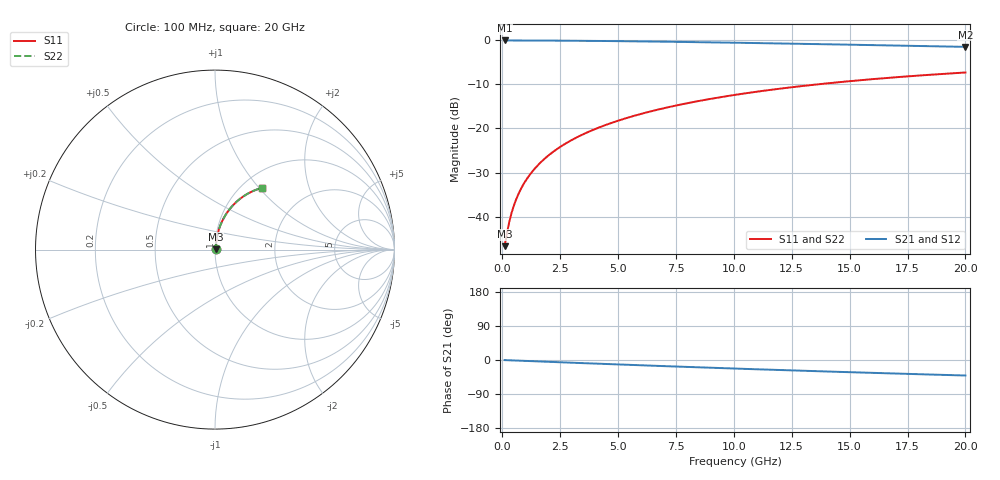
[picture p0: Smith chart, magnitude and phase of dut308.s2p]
! Touchstone file exported from HFSS 2024.1.0
!  File:  C:/UserFiles/LocalFiles/RDL_TSV_Batchsim/temp_RDL_top_308_1779606520.aedt
!  Generated:  03:11:15 PM May 24, 2026
!  Design:  RDL_top
!  Project:  temp_RDL_top_308_1779606520
!  Setup:  Setup1
!  Solution:  Sweep
! Variables:
!  dtsv = 10.80580581um
!  hbump = 3um
!  htsv = 86.81um
!  ldown = 100um
!  lrdl = 554.7um
!  p = 40
!  p1 = 44.72um
!  rhole = 1um
!  t = 450um
!  tdown = 3.915915916um
!  trdl = 3.82um
!  wdown = 15.38538539um
!  wrdl = 13.78um
# GHz S MA R 50.000000
! Terminal data exported
! Port[1] = Box2_T1
! Port[2] = Box2_T2
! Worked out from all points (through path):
!   200 points, 100 MHz to 20 GHz, reference 50 ohm
!   highest |S21| = -0.03 dB at 100 MHz (marker M1); lowest = -1.5 dB at 20 GHz (marker M2)
!   group delay of S21, straight-line fit = 5.67 ps
!   lowest |S11| = -46.7 dB at 100 MHz (marker M3), VSWR 1.01, Z = 50.4 + j0.261 ohm
!   |S11| at or under -10 dB: start of sweep to 13.6 GHz
!   |S22| runs from -46.7 to -7.3 dB; largest |S21 - S12| = 3.2e-15
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0.1  0.004617 34.1  0.9962 -0.2  0.9962 -0.2  0.004617 34.1
! Gamma 0 0 0 0
! Port Impedance 50 0 50 0
0.2  0.006469 52.7  0.9961 -0.5  0.9961 -0.5  0.006469 52.7
0.3  0.008674 62.2  0.996 -0.7  0.996 -0.7  0.008674 62.2
0.4  0.01099 67.5  0.9958 -1.0  0.9958 -1.0  0.01099 67.5
0.5  0.01335 71.0  0.9957 -1.2  0.9957 -1.2  0.01335 71.0
0.6  0.01572 73.3  0.9955 -1.5  0.9955 -1.5  0.01572 73.3
0.8  0.02049 76.3  0.9952 -1.9  0.9952 -1.9  0.02049 76.3
1.1  0.02771 78.8  0.9947 -2.7  0.9947 -2.7  0.02771 78.8
1.5  0.03739 80.3  0.9939 -3.6  0.9939 -3.6  0.03739 80.4
1.8  0.04468 80.9  0.9931 -4.3  0.9931 -4.3  0.04468 80.9
2.1  0.05199 81.1  0.9923 -5.0  0.9923 -5.0  0.05199 81.1
2.7  0.06661 81.1  0.9902 -6.4  0.9902 -6.4  0.06661 81.1
3.5  0.08609 80.5  0.9868 -8.3  0.9868 -8.3  0.0861 80.5
4.2  0.1031 79.7  0.9833 -9.9  0.9833 -9.9  0.1031 79.7
5  0.1224 78.6  0.9786 -11.7  0.9786 -11.7  0.1225 78.6
5.9  0.1441 77.2  0.9727 -13.8  0.9727 -13.8  0.1441 77.2
6.8  0.1655 75.7  0.9662 -15.7  0.9662 -15.7  0.1655 75.7
8.3  0.2006 73.1  0.9543 -19.0  0.9543 -19.0  0.2006 73.2
10.1  0.2415 70.0  0.9387 -22.7  0.9387 -22.7  0.2416 70.0
13.4  0.3121 64.1  0.9078 -29.2  0.9078 -29.2  0.3122 64.1
16.7  0.3755 58.3  0.8754 -35.2  0.8754 -35.2  0.3757 58.3
20  0.4312 52.8  0.8427 -40.9  0.8427 -40.9  0.4314 52.8
